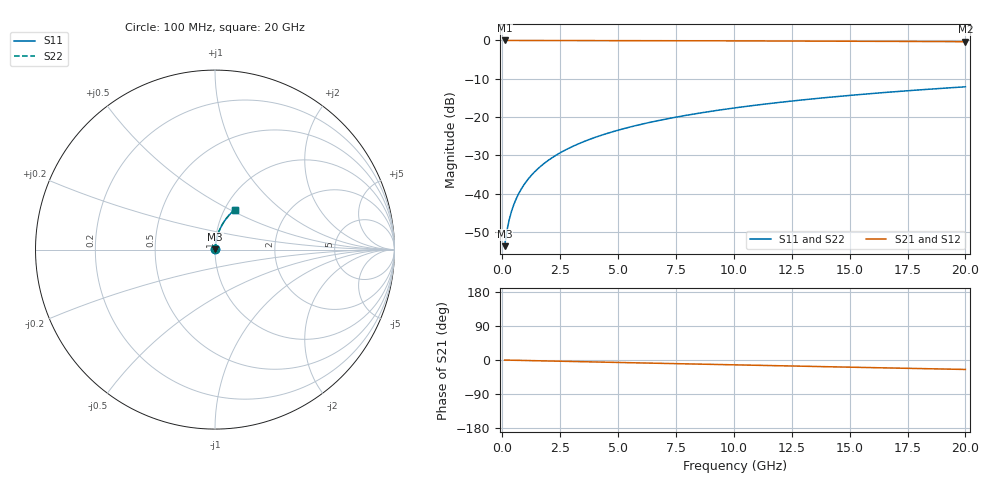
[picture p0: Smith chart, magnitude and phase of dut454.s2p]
! Touchstone file exported from HFSS 2026.1.0
!  File:  C:/ffzhzh/LocalFiles/Ansys_Project_Files/temp_train_TMRDL_454_1783005882_51716.aedt
!  Generated:  11:26:08 PM Jul  2, 2026
!  Design:  TMRDL
!  Project:  temp_train_TMRDL_454_1783005882_51716
! Variables:
!  h_bsmrdl = 2um
!  h_ox = 20um
!  h_rdl = 5um
!  h_sub = 80um
!  h_tmrdl = 4um
!  h_tsv = 80um
!  h_via = 3um
!  l_bsmrdl = 300um
!  l_sub = 727.04um
!  l_tmrdl = 327.04um
!  m_sub = 200um
!  pitch = 52.54um
!  r_tsv = 6um
!  s_tmrdl = 10um
!  w_bsmrdl = 18um
!  w_sub = 500um
!  w_tmrdl = 23.68um
!  x_tsv_center1 = 338.88um
!  x_tsv_center2 = 656.88um
!  x_tsv_center3 = 1007.6um
!  x_tsv_center4 = 1325.6um
!  x_tsv_center5 = 1676.32um
!  x_tsv_center6 = 1994.32um
# GHz S MA R 50.000000
! Terminal data exported
! Port[1] = TM_RDL1_1_T1
! Port[2] = TM_RDL1_1_T2
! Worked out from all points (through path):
!   200 points, 100 MHz to 20 GHz, reference 50 ohm
!   highest |S21| = -0.01 dB at 100 MHz (marker M1); lowest = -0.3 dB at 20 GHz (marker M2)
!   group delay of S21, straight-line fit = 3.46 ps
!   lowest |S11| = -53.8 dB at 100 MHz (marker M3), VSWR 1.00, Z = 50.1 + j0.148 ohm
!   |S11| at or under -10 dB: start of sweep to end of sweep
!   |S22| runs from -53.8 to -12.1 dB; largest |S21 - S12| = 2.7e-15
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0.1  0.002052 45.9  0.9986 -0.1  0.9986 -0.1  0.002052 45.9
! Gamma 0 0 0 0
! Port Impedance 50 0 50 0
0.2  0.003273 62.4  0.9985 -0.3  0.9985 -0.3  0.003273 62.4
0.3  0.004575 69.4  0.9984 -0.4  0.9984 -0.4  0.004574 69.4
0.4  0.005886 73.2  0.9983 -0.5  0.9983 -0.5  0.005886 73.2
0.5  0.007202 75.8  0.9983 -0.7  0.9983 -0.7  0.007202 75.8
0.6  0.008524 77.5  0.9983 -0.8  0.9983 -0.8  0.008523 77.5
0.8  0.01118 79.8  0.9982 -1.1  0.9982 -1.1  0.01118 79.8
1.1  0.0152 81.6  0.9981 -1.4  0.9981 -1.4  0.0152 81.6
1.5  0.02058 82.7  0.9979 -2.0  0.9979 -2.0  0.02058 82.7
1.8  0.02462 83.0  0.9977 -2.4  0.9977 -2.4  0.02462 83.0
2.1  0.02865 83.1  0.9975 -2.7  0.9975 -2.7  0.02865 83.1
2.7  0.03671 83.0  0.9971 -3.5  0.9971 -3.5  0.03671 83.0
3.5  0.04738 82.4  0.9964 -4.6  0.9964 -4.6  0.04738 82.4
4.2  0.05665 81.8  0.9957 -5.5  0.9957 -5.5  0.05665 81.8
5  0.06716 80.9  0.9947 -6.5  0.9947 -6.5  0.06716 81.0
5.9  0.07887 79.9  0.9935 -7.6  0.9935 -7.6  0.07887 80.0
6.8  0.09047 78.9  0.9923 -8.8  0.9923 -8.8  0.09047 78.9
8.3  0.1096 77.2  0.9899 -10.7  0.9899 -10.7  0.1096 77.2
10.1  0.1321 75.1  0.9866 -12.9  0.9866 -12.9  0.1321 75.1
13.4  0.1723 71.2  0.9797 -17.0  0.9797 -17.0  0.1723 71.2
16.7  0.2109 67.4  0.9716 -21.0  0.9716 -21.0  0.2109 67.4
20  0.2477 63.6  0.9625 -25.0  0.9625 -25.0  0.2477 63.6
